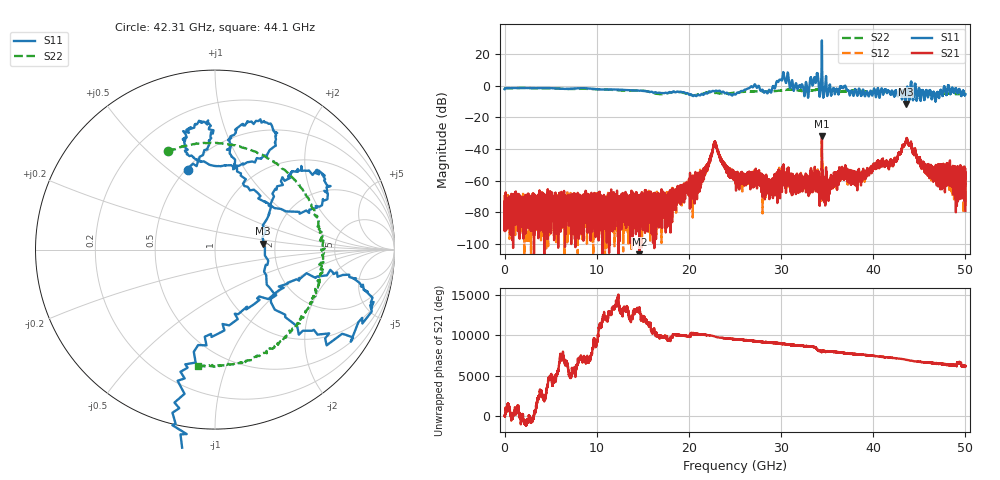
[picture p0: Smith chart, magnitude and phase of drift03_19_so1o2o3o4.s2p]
!Created with skrf (http://scikit-rf.org).
# Hz S RI R 50.0
!freq ReS11 ImS11 ReS21 ImS21 ReS12 ImS12 ReS22 ImS22
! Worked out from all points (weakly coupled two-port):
!   10000 points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, 5.3 MHz to 50 GHz, reference 50 ohm
!   highest |S21| = -31.99 dB at 34.43 GHz (marker M1); lowest = -115.2 dB at 14.64 GHz (marker M2)
!   lowest |S11| = -11.4 dB at 43.52 GHz (marker M3), VSWR 1.73, Z = 85.9 + j6.21 ohm
!   |S11| at or under -10 dB: 43.48954 GHz to 43.55437 GHz (64.83 MHz wide, 0.149 % of centre)
!   |S22| runs from -5.9 to -1.3 dB; largest |S21 - S12| = 0.011
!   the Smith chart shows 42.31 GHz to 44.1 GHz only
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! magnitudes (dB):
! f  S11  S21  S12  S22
! 5.3 MHz  -2.1  -73.5  -69.0  -2.1
! 1.6 GHz  -1.3  -75.3  -76.3  -1.4
! 8.34 GHz  -1.5  -89.3  -77.5  -1.9
! 14.64 GHz  -3.1  -115.2  -84.0  -3.0
! 16.67 GHz  -4.4  -73.9  -86.8  -5.2
! 21.09 GHz  -5.8  -56.4  -59.7  -5.5
! 22.81 GHz  -3.4  -35.4  -35.4  -4.5
! 25.01 GHz  -5.5  -57.9  -57.1  -4.3
! 27.02 GHz  -0.4  -55.9  -56.0  -3.5
! 28.72 GHz  -2.5  -62.1  -63.1  -3.6
! 30.14 GHz  4.4  -53.4  -58.6  -2.8
! 32.74 GHz  2.0  -58.2  -57.8  -3.3
! 33.34 GHz  2.6  -58.5  -57.7  -2.9
! 34.43 GHz  28.7  -32.0  -34.7  -2.3
! 34.94 GHz  -0.8  -65.0  -57.4  -2.5
! 36.48 GHz  -0.4  -54.9  -55.7  -3.8
! 38.11 GHz  -2.6  -59.5  -60.4  -2.9
! 41.67 GHz  -3.2  -50.8  -50.8  -3.7
! 43.52 GHz  -11.4  -35.6  -35.4  -4.3
! 45.96 GHz  -6.9  -50.1  -52.0  -5.4
! 49.7 GHz  -3.5  -67.9  -56.7  -5.1
! 50 GHz  -5.3  -79.1  -59.5  -5.0
